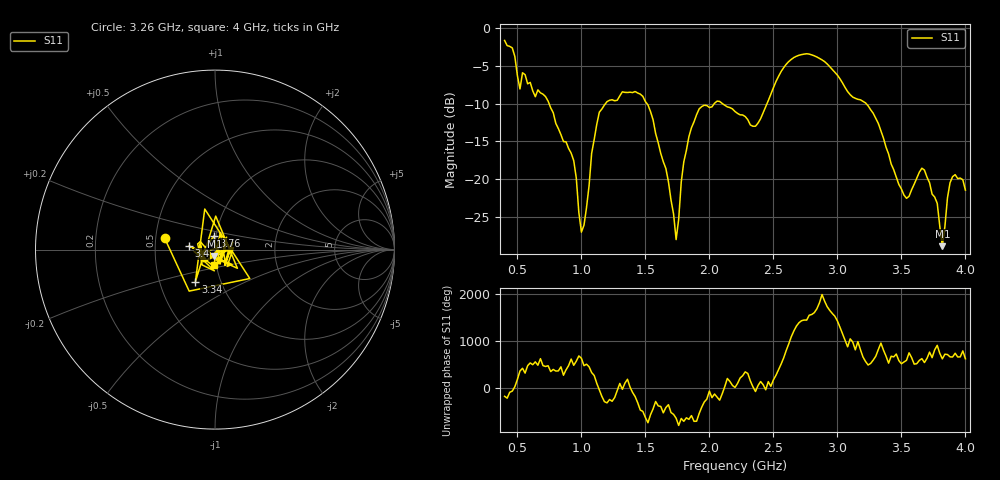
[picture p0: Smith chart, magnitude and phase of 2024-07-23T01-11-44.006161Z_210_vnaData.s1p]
!Created with skrf (http://scikit-rf.org).
# Hz S RI R 50.0
!freq ReS11 ImS11
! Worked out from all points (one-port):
!   181 points, 400 MHz to 4 GHz, reference 50 ohm
!   lowest |S11| = -28.8 dB at 3.82 GHz (marker M1), VSWR 1.08, Z = 49.5 - j3.57 ohm
!   |S11| at or under -10 dB: 747.1 MHz to 1.189 GHz (441.7 MHz wide, 45.6 % of centre); 1.511 GHz to 2.039 GHz (527.2 MHz wide, 29.7 % of centre); 3.224 GHz to end of sweep (the widest 3 of 4)
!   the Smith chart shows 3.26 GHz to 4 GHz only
!   S11 on the Smith chart (normalised r, x): 3.26 GHz: 0.56, +0.08; 3.34 GHz: 0.76, -0.28; 3.4 GHz: 0.75, +0.03; 3.76 GHz: 0.98, +0.15; 4 GHz: 0.97, -0.17
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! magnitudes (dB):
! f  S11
! 400 MHz  -1.7
! 520 MHz  -8.1
! 540 MHz  -5.9
! 720 MHz  -9.1
! 860 MHz  -15.0
! 940 MHz  -17.5
! 1 GHz  -27.0
! 1.14 GHz  -11.1
! 1.3 GHz  -9.0
! 1.52 GHz  -10.2
! 1.66 GHz  -18.6
! 1.74 GHz  -28.0
! 1.76 GHz  -25.3
! 1.8 GHz  -17.7
! 1.92 GHz  -10.7
! 2.2 GHz  -11.1
! 2.36 GHz  -13.0
! 2.66 GHz  -3.9
! 3.1 GHz  -8.8
! 3.26 GHz  -10.8
! 3.34 GHz  -13.6
! 3.4 GHz  -16.7
! 3.56 GHz  -22.2
! 3.66 GHz  -18.5
! 3.76 GHz  -22.3
! 3.82 GHz  -28.8
! 3.88 GHz  -20.5
! 4 GHz  -21.4
